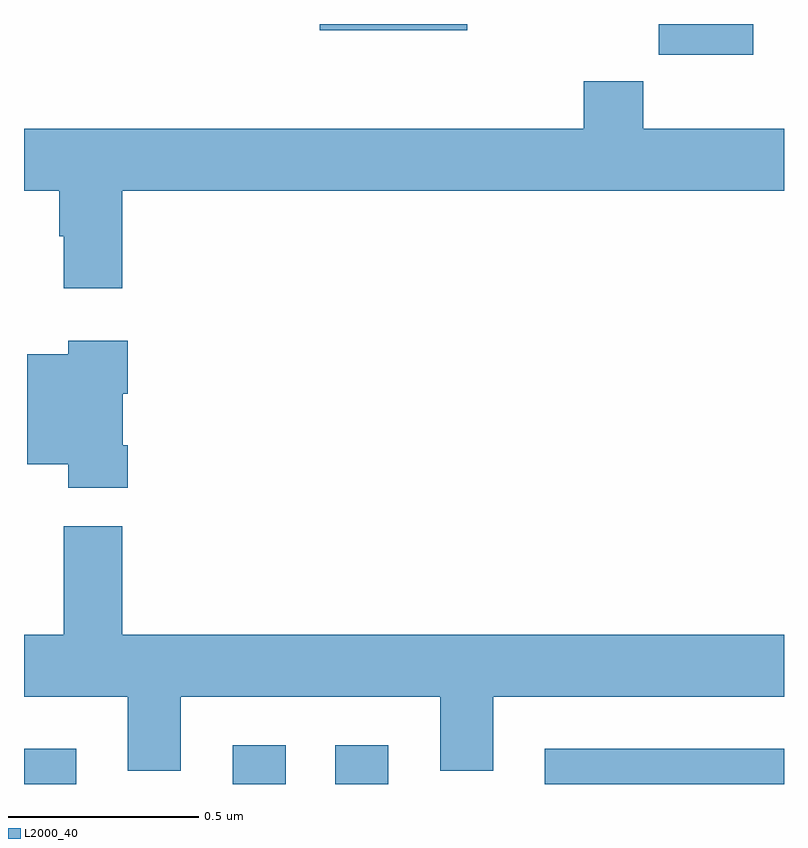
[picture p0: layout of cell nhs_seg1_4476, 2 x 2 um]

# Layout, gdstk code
import gdstk
lib = gdstk.Library(unit=1e-6, precision=1e-09)
def R(c, l, rs):  # rectangles x0, y0, x1, y1
    for r in rs: c.add(gdstk.rectangle(r[:2], r[2:], *l))
def P(c, l, *ps):  # polygons
    for p in ps: c.add(gdstk.Polygon(p, *l))
L2000_40 = (2000, 40)

nhs_seg1_4476 = lib.new_cell('nhs_seg1_4476')
R(nhs_seg1_4476, L2000_40, [(167,522.199,167.137,522.292), (167.549,522.199,167.689,522.301), (167.819,522.199,167.959,522.301), (168.371,522.199,169,522.292), (168.67,524.118,168.919,524.199), (167.778,524.183,168.166,524.199)])
P(nhs_seg1_4476, L2000_40, [(167.258,523.76),(169,523.76),(169,523.924),(168.629,523.924),(168.629,524.048),(168.473,524.048),(168.473,523.924),(167,523.924),(167,523.76),(167.093,523.76),(167.093,523.64),(167.105,523.64),(167.105,523.503),(167.258,523.503)],
  [(167.273,523.09),(167.26,523.09),(167.26,523.226),(167.273,523.226),(167.273,523.366),(167.117,523.366),(167.117,523.33),(167.009,523.33),(167.009,523.04),(167.117,523.04),(167.117,522.978),(167.273,522.978)],
  [(167.258,522.877),(167.105,522.877),(167.105,522.592),(167,522.592),(167,522.428),(167.273,522.428),(167.273,522.234),(167.413,522.234),(167.413,522.428),(168.095,522.428),(168.095,522.234),(168.235,522.234),(168.235,522.428),(169,522.428),(169,522.592),(167.258,522.592)])

lib.write_gds('nhs_seg1_4476.gds')
